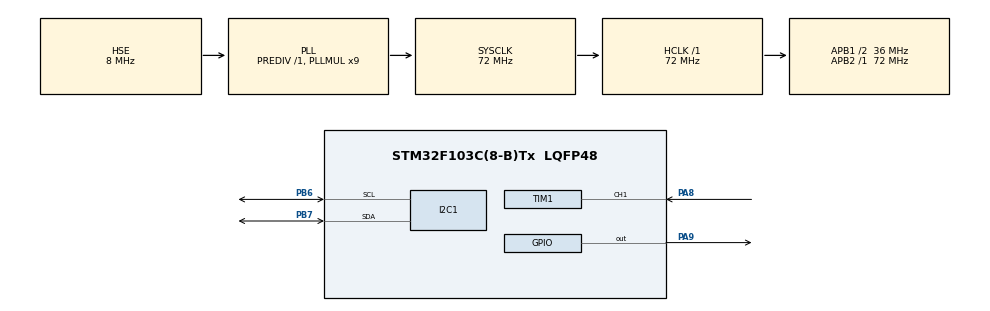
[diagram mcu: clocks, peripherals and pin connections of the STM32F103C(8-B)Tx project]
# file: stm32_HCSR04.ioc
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Mcu.Family=STM32F1
Mcu.Name=STM32F103C(8-B)Tx
Mcu.Package=LQFP48
NVIC.PriorityGroup=NVIC_PRIORITYGROUP_4
NVIC.TIM1_CC_IRQn=true\:0\:0\:false\:false\:true\:true\:true\:true
PA13.Mode=Serial_Wire
PA13.Signal=SYS_JTMS-SWDIO
PA14.Mode=Serial_Wire
PA14.Signal=SYS_JTCK-SWCLK
PA8.Signal=S_TIM1_CH1
PA9.Signal=GPIO_Output
PB6.Mode=I2C
PB6.Signal=I2C1_SCL
PB7.Mode=I2C
PB7.Signal=I2C1_SDA
PD0-OSC_IN.Mode=HSE-External-Oscillator
PD0-OSC_IN.Signal=RCC_OSC_IN
PD1-OSC_OUT.Mode=HSE-External-Oscillator
PD1-OSC_OUT.Signal=RCC_OSC_OUT
ProjectManager.HeapSize=0x200
ProjectManager.StackSize=0x400
ProjectManager.TargetToolchain=MDK-ARM V5.32
RCC.AHBFreq_Value=72000000
RCC.APB1CLKDivider=RCC_HCLK_DIV2
RCC.APB1Freq_Value=36000000
RCC.APB1TimFreq_Value=72000000
RCC.APB2Freq_Value=72000000
RCC.APB2TimFreq_Value=72000000
RCC.HCLKFreq_Value=72000000
RCC.PLLMUL=RCC_PLL_MUL9
RCC.PLLSourceVirtual=RCC_PLLSOURCE_HSE
RCC.SYSCLKFreq_VALUE=72000000
RCC.SYSCLKSource=RCC_SYSCLKSOURCE_PLLCLK
RCC.USBFreq_Value=72000000
SH.S_TIM1_CH1.0=TIM1_CH1,Input_Capture1_from_TI1
TIM1.Channel-Input_Capture1_from_TI1=TIM_CHANNEL_1
TIM1.Period=0xffff-1
TIM1.Prescaler=72-1
VP_TIM1_VS_ClockSourceINT.Mode=Internal
board=custom

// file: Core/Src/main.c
/* USER CODE BEGIN Header */
/**
  ******************************************************************************
  * @file           : main.c
  * @brief          : Main program body
  ******************************************************************************
  * @attention
  *
  * Copyright (c) 2024 STMicroelectronics.
  * All rights reserved.
  *
  * This software is licensed under terms that can be found in the LICENSE file
  * in the root directory of this software component.
  * If no LICENSE file comes with this software, it is provided AS-IS.
  *
  ******************************************************************************
  */
/* USER CODE END Header */
#include "main.h"

/* USER CODE BEGIN Includes */
#include "CLCD_I2C.h"
#include "stdio.h"
#include "string.h"
/* USER CODE END Includes */

I2C_HandleTypeDef hi2c1;

TIM_HandleTypeDef htim1;

void SystemClock_Config(void);
static void MX_GPIO_Init(void);
static void MX_TIM1_Init(void);
static void MX_I2C1_Init(void);

/* USER CODE BEGIN 0 */
uint32_t IC_Val1 = 0, IC_Val2 = 0, Difference = 0;
uint8_t Is_First_Captured = 0;
float Distance = 0.0;

#define TRIG_PIN GPIO_PIN_9
#define TRIG_PORT GPIOA

CLCD_I2C_Name LCD1;
void delay(uint16_t time)
{
	__HAL_TIM_SET_COUNTER(&htim1,0);
	while((__HAL_TIM_GET_COUNTER(&htim1) < time));
}

void HCSR04_Read(void)
{
	HAL_GPIO_WritePin(TRIG_PORT, TRIG_PIN, GPIO_PIN_SET);
	delay(10);
	HAL_GPIO_WritePin(TRIG_PORT, TRIG_PIN, GPIO_PIN_RESET);

	__HAL_TIM_ENABLE_IT(&htim1, TIM_IT_CC1);
}

/* USER CODE END 0 */

int main(void)
{

  /* MCU Configuration--------------------------------------------------------*/

  /* Reset of all peripherals, Initializes the Flash interface and the Systick. */
  HAL_Init();

  /* Configure the system clock */
  SystemClock_Config();

  /* Initialize all configured peripherals */
  MX_GPIO_Init();
  MX_TIM1_Init();
  MX_I2C1_Init();
  /* USER CODE BEGIN 2 */
  CLCD_I2C_Init(&LCD1,&hi2c1,0x4e,16,2);
	HAL_TIM_IC_Start_IT(&htim1,TIM_CHANNEL_1);
  /* USER CODE END 2 */

  /* Infinite loop */
  /* USER CODE BEGIN WHILE */
  while (1)
  {
		char data[20];
		HCSR04_Read();
		CLCD_I2C_SetCursor(&LCD1,0,0);
		sprintf(data,"Distance: %.2f",Distance);
		CLCD_I2C_WriteString(&LCD1,data);
		HAL_Delay(300);
    /* USER CODE END WHILE */

  }
}

void SystemClock_Config(void)
{
  RCC_OscInitTypeDef RCC_OscInitStruct = {0};
  RCC_ClkInitTypeDef RCC_ClkInitStruct = {0};

  /** Initializes the RCC Oscillators according to the specified parameters
  * in the RCC_OscInitTypeDef structure.
  */
  RCC_OscInitStruct.OscillatorType = RCC_OSCILLATORTYPE_HSE;
  RCC_OscInitStruct.HSEState = RCC_HSE_ON;
  RCC_OscInitStruct.HSEPredivValue = RCC_HSE_PREDIV_DIV1;
  RCC_OscInitStruct.HSIState = RCC_HSI_ON;
  RCC_OscInitStruct.PLL.PLLState = RCC_PLL_ON;
  RCC_OscInitStruct.PLL.PLLSource = RCC_PLLSOURCE_HSE;
  RCC_OscInitStruct.PLL.PLLMUL = RCC_PLL_MUL9;
  if (HAL_RCC_OscConfig(&RCC_OscInitStruct) != HAL_OK)
  {
    Error_Handler();
  }

  /** Initializes the CPU, AHB and APB buses clocks
  */
  RCC_ClkInitStruct.ClockType = RCC_CLOCKTYPE_HCLK|RCC_CLOCKTYPE_SYSCLK
                              |RCC_CLOCKTYPE_PCLK1|RCC_CLOCKTYPE_PCLK2;
  RCC_ClkInitStruct.SYSCLKSource = RCC_SYSCLKSOURCE_PLLCLK;
  RCC_ClkInitStruct.AHBCLKDivider = RCC_SYSCLK_DIV1;
  RCC_ClkInitStruct.APB1CLKDivider = RCC_HCLK_DIV2;
  RCC_ClkInitStruct.APB2CLKDivider = RCC_HCLK_DIV1;

  if (HAL_RCC_ClockConfig(&RCC_ClkInitStruct, FLASH_LATENCY_2) != HAL_OK)
  {
    Error_Handler();
  }
}

static void MX_I2C1_Init(void)
{

  hi2c1.Instance = I2C1;
  hi2c1.Init.ClockSpeed = 100000;
  hi2c1.Init.DutyCycle = I2C_DUTYCYCLE_2;
  hi2c1.Init.OwnAddress1 = 0;
  hi2c1.Init.AddressingMode = I2C_ADDRESSINGMODE_7BIT;
  hi2c1.Init.DualAddressMode = I2C_DUALADDRESS_DISABLE;
  hi2c1.Init.OwnAddress2 = 0;
  hi2c1.Init.GeneralCallMode = I2C_GENERALCALL_DISABLE;
  hi2c1.Init.NoStretchMode = I2C_NOSTRETCH_DISABLE;
  if (HAL_I2C_Init(&hi2c1) != HAL_OK)
  {
    Error_Handler();
  }

}

static void MX_TIM1_Init(void)
{

  TIM_ClockConfigTypeDef sClockSourceConfig = {0};
  TIM_MasterConfigTypeDef sMasterConfig = {0};
  TIM_IC_InitTypeDef sConfigIC = {0};

  htim1.Instance = TIM1;
  htim1.Init.Prescaler = 72-1;
  htim1.Init.CounterMode = TIM_COUNTERMODE_UP;
  htim1.Init.Period = 0xffff-1;
  htim1.Init.ClockDivision = TIM_CLOCKDIVISION_DIV1;
  htim1.Init.RepetitionCounter = 0;
  htim1.Init.AutoReloadPreload = TIM_AUTORELOAD_PRELOAD_DISABLE;
  if (HAL_TIM_Base_Init(&htim1) != HAL_OK)
  {
    Error_Handler();
  }
  sClockSourceConfig.ClockSource = TIM_CLOCKSOURCE_INTERNAL;
  if (HAL_TIM_ConfigClockSource(&htim1, &sClockSourceConfig) != HAL_OK)
  {
    Error_Handler();
  }
  if (HAL_TIM_IC_Init(&htim1) != HAL_OK)
  {
    Error_Handler();
  }
  sMasterConfig.MasterOutputTrigger = TIM_TRGO_RESET;
  sMasterConfig.MasterSlaveMode = TIM_MASTERSLAVEMODE_DISABLE;
  if (HAL_TIMEx_MasterConfigSynchronization(&htim1, &sMasterConfig) != HAL_OK)
  {
    Error_Handler();
  }
  sConfigIC.ICPolarity = TIM_INPUTCHANNELPOLARITY_RISING;
  sConfigIC.ICSelection = TIM_ICSELECTION_DIRECTTI;
  sConfigIC.ICPrescaler = TIM_ICPSC_DIV1;
  sConfigIC.ICFilter = 0;
  if (HAL_TIM_IC_ConfigChannel(&htim1, &sConfigIC, TIM_CHANNEL_1) != HAL_OK)
  {
    Error_Handler();
  }

}

static void MX_GPIO_Init(void)
{
  GPIO_InitTypeDef GPIO_InitStruct = {0};

  /* GPIO Ports Clock Enable */
  __HAL_RCC_GPIOD_CLK_ENABLE();
  __HAL_RCC_GPIOA_CLK_ENABLE();
  __HAL_RCC_GPIOB_CLK_ENABLE();

  /*Configure GPIO pin Output Level */
  HAL_GPIO_WritePin(GPIOA, GPIO_PIN_9, GPIO_PIN_RESET);

  /*Configure GPIO pin : PA9 */
  GPIO_InitStruct.Pin = GPIO_PIN_9;
  GPIO_InitStruct.Mode = GPIO_MODE_OUTPUT_PP;
  GPIO_InitStruct.Pull = GPIO_NOPULL;
  GPIO_InitStruct.Speed = GPIO_SPEED_FREQ_LOW;
  HAL_GPIO_Init(GPIOA, &GPIO_InitStruct);

}

/* USER CODE BEGIN 4 */
void HAL_TIM_IC_CaptureCallback(TIM_HandleTypeDef *htim)
{
	if(htim->Channel == HAL_TIM_ACTIVE_CHANNEL_1)
	{
		if(Is_First_Captured == 0)
		{
			IC_Val1 = HAL_TIM_ReadCapturedValue(htim,TIM_CHANNEL_1);
			Is_First_Captured = 1;

			__HAL_TIM_SET_CAPTUREPOLARITY(htim,TIM_CHANNEL_1, TIM_INPUTCHANNELPOLARITY_FALLING);
		}

		else if(Is_First_Captured == 1)
		{
			IC_Val2 = HAL_TIM_ReadCapturedValue(htim,TIM_CHANNEL_1);
			__HAL_TIM_SET_COUNTER(htim,0);

			if(IC_Val2 > IC_Val1)
			{
				Difference = IC_Val2 - IC_Val1;
			}
			else if(IC_Val2 < IC_Val1)
			{
				Difference = (0xffff - IC_Val1) + IC_Val2;
			}

			Distance = (float)Difference * .034/2;
			Is_First_Captured = 0;

			__HAL_TIM_SET_CAPTUREPOLARITY(htim,TIM_CHANNEL_1,TIM_INPUTCHANNELPOLARITY_RISING);
			__HAL_TIM_DISABLE_IT(&htim1, TIM_IT_CC1);
		}
	}
}
/* USER CODE END 4 */

void Error_Handler(void)
{
  __disable_irq();
  while (1)
  {
  }
}
